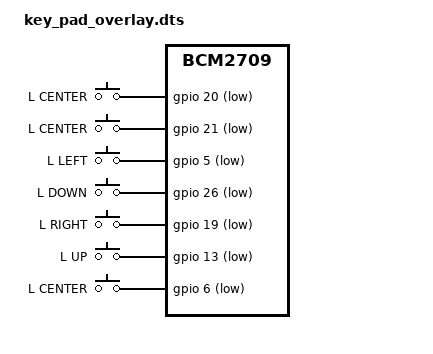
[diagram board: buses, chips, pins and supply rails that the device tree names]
/dts-v1/;
/plugin/;
/ {
	compatible = "brcm,bcm2835", "brcm,bcm2708", "brcm,bcm2709";
	
	fragment@0 {
		target-path = "/soc";
		__overlay__ {
			keypad: keypad {
				compatible = "gpio-keys-polled";
				#address-cells = <1>;
				#size-cells = <0>;
				status = "okay";
				poll-interval = <100>;
				R@20 {
					label = "L CENTER";
					linux,code = <28>;
					gpios = <&gpio 20 1>;
				};				
				L@21 {
					label = "L CENTER";
					linux,code = <28>;
					gpios = <&gpio 21 1>;
				};				
				LEFT@5 {
					label = "L LEFT";
					linux,code = <105>;
					gpios = <&gpio 5 1>;
				};
				DOWN@26 {
					label = "L DOWN";
					linux,code = <108>;
					gpios = <&gpio 26 1>;
				};
				RIGHT@19 {
					label = "L RIGHT";
					linux,code = <106>;
					gpios = <&gpio 19 1>;
				};
				UP@13 {
					label = "L UP";
					linux,code = <103>;
					gpios = <&gpio 13 1>;
				};
				CENT@6 {
					label = "L CENTER";
					linux,code = <28>;
					gpios = <&gpio 6 1>;
				};
			};
		};
	};
};
